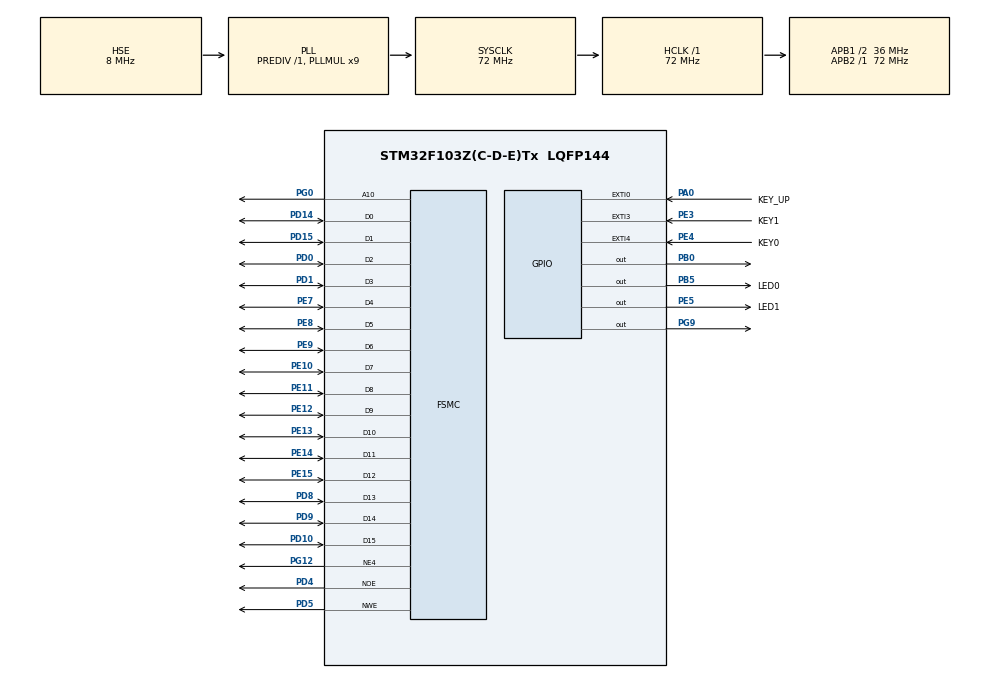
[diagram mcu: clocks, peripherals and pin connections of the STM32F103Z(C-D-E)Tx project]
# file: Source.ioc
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FSMC.AddressSetupTime1=2
FSMC.BusTurnAroundDuration1=0
FSMC.DataSetupTime1=4
Mcu.Family=STM32F1
Mcu.Name=STM32F103Z(C-D-E)Tx
Mcu.Package=LQFP144
NVIC.EXTI0_IRQn=true\:0\:0\:false\:false\:true\:true\:true\:true
NVIC.EXTI3_IRQn=true\:0\:0\:false\:false\:true\:true\:true\:true
NVIC.EXTI4_IRQn=true\:0\:0\:false\:false\:true\:true\:true\:true
NVIC.PriorityGroup=NVIC_PRIORITYGROUP_4
NVIC.TIM1_UP_IRQn=true\:15\:0\:false\:false\:true\:false\:true\:true
NVIC.TimeBase=TIM1_UP_IRQn
NVIC.TimeBaseIP=TIM1
OSC_IN.Mode=HSE-External-Oscillator
OSC_IN.Signal=RCC_OSC_IN
OSC_OUT.Mode=HSE-External-Oscillator
OSC_OUT.Signal=RCC_OSC_OUT
PA0-WKUP.GPIO_Label=KEY_UP
PA0-WKUP.GPIO_ModeDefaultEXTI=GPIO_MODE_IT_RISING
PA0-WKUP.GPIO_PuPd=GPIO_PULLDOWN
PA0-WKUP.Signal=GPXTI0
PA13.Mode=Serial_Wire
PA13.Signal=SYS_JTMS-SWDIO
PA14.Mode=Serial_Wire
PA14.Signal=SYS_JTCK-SWCLK
PB0.Signal=GPIO_Output
PB5.GPIO_Label=LED0
PB5.Signal=GPIO_Output
PD0.Signal=FSMC_D2_DA2
PD1.Signal=FSMC_D3_DA3
PD10.Signal=FSMC_D15_DA15
PD14.Signal=FSMC_D0_DA0
PD15.Signal=FSMC_D1_DA1
PD4.Signal=FSMC_NOE
PD5.Signal=FSMC_NWE
PD8.Signal=FSMC_D13_DA13
PD9.Signal=FSMC_D14_DA14
PE10.Signal=FSMC_D7_DA7
PE11.Signal=FSMC_D8_DA8
PE12.Signal=FSMC_D9_DA9
PE13.Signal=FSMC_D10_DA10
PE14.Signal=FSMC_D11_DA11
PE15.Signal=FSMC_D12_DA12
PE3.GPIO_Label=KEY1
PE3.GPIO_ModeDefaultEXTI=GPIO_MODE_IT_FALLING
PE3.GPIO_PuPd=GPIO_PULLUP
PE3.Signal=GPXTI3
PE4.GPIO_Label=KEY0
PE4.GPIO_ModeDefaultEXTI=GPIO_MODE_IT_FALLING
PE4.GPIO_PuPd=GPIO_PULLUP
PE4.Signal=GPXTI4
PE5.GPIO_Label=LED1
PE5.Signal=GPIO_Output
PE7.Signal=FSMC_D4_DA4
PE8.Signal=FSMC_D5_DA5
PE9.Signal=FSMC_D6_DA6
PG0.Signal=FSMC_A10
PG12.Mode=NorPsramChipSelect4_1
PG12.Signal=FSMC_NE4
PG9.GPIO_PuPd=GPIO_PULLUP
PG9.PinState=GPIO_PIN_SET
PG9.Signal=GPIO_Output
ProjectManager.HeapSize=0x200
ProjectManager.StackSize=0x400
ProjectManager.TargetToolchain=CMake
RCC.AHBFreq_Value=72000000
RCC.APB1CLKDivider=RCC_HCLK_DIV2
RCC.APB1Freq_Value=36000000
RCC.APB1TimFreq_Value=72000000
RCC.APB2Freq_Value=72000000
RCC.APB2TimFreq_Value=72000000
RCC.HCLKFreq_Value=72000000
RCC.PLLMUL=RCC_PLL_MUL9
RCC.PLLSourceVirtual=RCC_PLLSOURCE_HSE
RCC.SYSCLKFreq_VALUE=72000000
RCC.SYSCLKSource=RCC_SYSCLKSOURCE_PLLCLK
RCC.USBFreq_Value=72000000
SH.FSMC_A10.0=FSMC_A10,A10_1
SH.FSMC_D0_DA0.0=FSMC_D0,16b-d1
SH.FSMC_D10_DA10.0=FSMC_D10,16b-d1
SH.FSMC_D11_DA11.0=FSMC_D11,16b-d1
SH.FSMC_D12_DA12.0=FSMC_D12,16b-d1
SH.FSMC_D13_DA13.0=FSMC_D13,16b-d1
SH.FSMC_D14_DA14.0=FSMC_D14,16b-d1
SH.FSMC_D15_DA15.0=FSMC_D15,16b-d1
SH.FSMC_D1_DA1.0=FSMC_D1,16b-d1
SH.FSMC_D2_DA2.0=FSMC_D2,16b-d1
SH.FSMC_D3_DA3.0=FSMC_D3,16b-d1
SH.FSMC_D4_DA4.0=FSMC_D4,16b-d1
SH.FSMC_D5_DA5.0=FSMC_D5,16b-d1
SH.FSMC_D6_DA6.0=FSMC_D6,16b-d1
SH.FSMC_D7_DA7.0=FSMC_D7,16b-d1
SH.FSMC_D8_DA8.0=FSMC_D8,16b-d1
SH.FSMC_D9_DA9.0=FSMC_D9,16b-d1
SH.FSMC_NOE.0=FSMC_NOE,Lcd1
SH.FSMC_NWE.0=FSMC_NWE,Lcd1
VP_SYS_VS_tim1.Mode=TIM1
board=custom

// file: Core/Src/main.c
/* USER CODE BEGIN Header */
/**
  ******************************************************************************
  * @file           : main.c
  * @brief          : Main program body
  ******************************************************************************
  * @attention
  *
  * Copyright (c) 2026 STMicroelectronics.
  * All rights reserved.
  *
  * This software is licensed under terms that can be found in the LICENSE file
  * in the root directory of this software component.
  * If no LICENSE file comes with this software, it is provided AS-IS.
  *
  ******************************************************************************
  */
/* USER CODE END Header */
#include "main.h"

/* USER CODE BEGIN Includes */
#include <stdio.h>

#include "FreeRTOS.h"
#include "task.h"
#include "queue.h"

#include "lcd.h"
#include "dht11.h"
#include "app_shared.h"
#include "bsp_adc.h"
#include "bsp_uart_dma.h"
#include "param_storage.h"
#include "custom_protocol.h"
#include "modbus_rtu.h"
/* USER CODE END Includes */

/* USER CODE BEGIN PD */
/* Task stack depth is counted in words: 256 * 4 = 1 KB.
 * LcdTask calls snprintf, so it eats more stack than the plain GPIO
 * tasks; 256 leaves a comfortable margin. */
#define TASK_STACK_DEPTH        256U

/* Priorities: sampler > uart protocol > display.
 * The sampler runs first so no sample is dropped; the uart task sits above
 * display so command responses stay fast (< 10 ms, doc 9.3). */
#define DHT11_TASK_PRIO         3U
#define UART_TASK_PRIO          4U
#define LCD_TASK_PRIO           2U

/* Sampling period is no longer a fixed macro: it comes from Flash params
 * (Param_GetPeriodMs, default 2000 ms, 500~60000 ms via protocol).
 * DHT11 datasheet asks for >= 1 s between samples. */
#define UART_TASK_STACK_DEPTH   256U

/* USART1 single-port baud. Doc says custom 115200 + Modbus 9600, but the
 * board has only one USART1, so both protocols share 115200 (see bsp_uart_dma.h).
 * The Modbus master must also use 115200. */
#define UART_BAUD               115200U

/* ---------------------------------------------------------------------------
 * UI layout - PORTRAIT 240 x 320
 * ---------------------------------------------------------------------------
 * The font is 16 x 24 px, so a 240 px line holds 15 characters. That is the
 * only real constraint here: every string below has to end before x = 239.
 *
 *   8    DHT11 MONITOR     heading (13 chars)
 *   44   Temperature       caption
 *   72   23.5 C            reading (6 chars, fixed)
 *   108  Humidity          caption
 *   136  45.0 %            reading (6 chars, fixed)
 *   172  Voltage           caption
 *   200  3.30 V            reading (6 chars, fixed)
 *   236  Status: OK        status line (12 chars, fixed)
 *   272  OK:12   E:0       counters, one line, 14 chars fixed
 * ------------------------------------------------------------------------- */
#define UI_X            12U     /* left margin, shared by every line */
#define UI_TITLE_Y      8U
#define UI_TEMP_LBL_Y   44U
#define UI_TEMP_VAL_Y   72U
#define UI_HUMI_LBL_Y   108U
#define UI_HUMI_VAL_Y   136U
#define UI_VOLT_LBL_Y   172U
#define UI_VOLT_VAL_Y   200U
#define UI_STAT_Y       236U
#define UI_CNT_Y        272U

/* USER CODE END PD */

SRAM_HandleTypeDef hsram1;

/* USER CODE BEGIN PV */
/* Data channels, defined here (declared in app_shared.h):
 * q_sensor2display: depth 1 + xQueueOverwrite, always newest sample only.
 * q_sensor2uart: depth 5, upload frames queue up if the uart task is busy.
 * g_latest: newest sample snapshot for the Modbus task (single writer). */
QueueHandle_t        q_sensor2display = NULL;
QueueHandle_t        q_sensor2uart    = NULL;
TaskHandle_t         uartTaskHandle   = NULL;
volatile SensorData_t g_latest = { 0, 0, 0, 0, 0 };

static TaskHandle_t  dht11TaskHandle = NULL;
static TaskHandle_t  lcdTaskHandle   = NULL;
/* USER CODE END PV */

void SystemClock_Config(void);
static void MX_GPIO_Init(void);
static void MX_FSMC_Init(void);
/* USER CODE BEGIN PFP */
static void Dht11Task( void *argument );    /* sampling: DHT11 + ADC */
static void LcdTask( void *argument );      /* display: refresh on new data   */
static void UartTask( void *argument );     /* custom protocol + Modbus slave */
static void UI_DrawStatic( void );          /* draw the fixed labels          */
/* USER CODE END PFP */

/* USER CODE BEGIN 0 */

/**
  * @brief  Draw what is drawn only once: the title bar plus fixed labels
  */
static void UI_DrawStatic( void )
{
    char cnt[ 16 ];

    LCD_Clear( LCD_COLOR_BG );

    LCD_ShowString( UI_X, UI_TITLE_Y,    "DHT11 MONITOR", LCD_COLOR_TEXT );
    LCD_ShowString( UI_X, UI_TEMP_LBL_Y, "Temperature",   LCD_COLOR_LABEL );
    LCD_ShowString( UI_X, UI_HUMI_LBL_Y, "Humidity",      LCD_COLOR_LABEL );
    LCD_ShowString( UI_X, UI_VOLT_LBL_Y, "Voltage",       LCD_COLOR_LABEL );

    /* Placeholders, each exactly as long as a real reading (6 chars), so the
     * first sample overwrites them without leaving anything behind. */
    LCD_ShowString( UI_X, UI_TEMP_VAL_Y, "--.- C", LCD_COLOR_LABEL );
    LCD_ShowString( UI_X, UI_HUMI_VAL_Y, "--.- %", LCD_COLOR_LABEL );
    LCD_ShowString( UI_X, UI_VOLT_VAL_Y, "-.-- V", LCD_COLOR_LABEL );

    /* Exactly 12 characters, like "Status: OK  " and "Status: ERR " below, so
     * all three states overwrite each other cleanly. */
    LCD_ShowString( UI_X, UI_STAT_Y, "Status: WAIT", LCD_COLOR_WARN );

    /* 14 chars fixed, same format string as the live counters below. */
    snprintf( cnt, sizeof( cnt ), "OK:%-4lu E:%-4lu", 0UL, 0UL );
    LCD_ShowString( UI_X, UI_CNT_Y, cnt, LCD_COLOR_LABEL );
}

/**
  * @brief  Sampling task
  * @note   DHT11_Init() calls vTaskDelay() internally, so it must be
  *         called after the scheduler has started (that is, from a task
  *         body); it cannot go in main().
  */
static void Dht11Task( void *argument )
{
    DHT11_Data_t dht;
    SensorData_t data;

    ( void ) argument;

    DHT11_Init();           /* start DWT, pull the bus high, wait 1 s to
                             * get past the power-on unstable period */

    for( ;; )
    {
        /* A failed read is still forwarded, so the screen shows an error state
         * instead of freezing on the last good value */
        if( DHT11_Read( &dht ) == 0U )
        {
            data.temp_x10 = 0;
            data.humi_x10 = 0U;
            data.valid    = 0U;
        }
        else
        {
            data.temp_x10 = ( int16_t )( ( int16_t ) dht.temp_int * 10 +
                                         dht.temp_dec );
            data.humi_x10 = ( uint16_t )( ( uint16_t ) dht.humi_int * 10U +
                                          dht.humi_dec );
            data.valid    = 1U;
        }

        /* ADC 电位器电压, 每次采样都读, 和温湿度打进同一个包 */
        data.volt_mv  = BSP_ADC_ToMillivolt( BSP_ADC_ReadRaw() );
        data.timestamp = xTaskGetTickCount();

        g_latest = data;    /* Modbus 从站直接读这份快照 */

        /* Display queue: depth 1 + Overwrite, never blocks. Uart queue:
         * depth 5, drop (0 timeout) if the uart task is backed up. */
        xQueueOverwrite( q_sensor2display, &data );
        xQueueSend( q_sensor2uart, &data, 0 );

        /* 周期来自 Flash 参数, 上位机/Modbus 可改, 下次循环生效 */
        vTaskDelay( pdMS_TO_TICKS( Param_GetPeriodMs() ) );
    }
}

/**
  * @brief  Display task: block on the queue, refresh whenever data arrives
  */
static void LcdTask( void *argument )
{
    SensorData_t data;
    char buf[ 16 ];         /* longest string is "OK:9999 E:9999" = 14 chars */
    uint32_t okCnt  = 0U;
    uint32_t errCnt = 0U;

    ( void ) argument;

    LCD_Init();             /* FSMC must already have been configured by
                             * MX_FSMC_Init() */
    UI_DrawStatic();

    for( ;; )
    {
        /* Block here while there is no data: costs no CPU */
        if( xQueueReceive( q_sensor2display, &data, portMAX_DELAY ) != pdPASS )
        {
            continue;
        }

        /* Voltage is shown on every refresh, good or bad sample alike. */
        snprintf( buf, sizeof( buf ), "%d.%02d V",
                  data.volt_mv / 1000U, ( data.volt_mv % 1000U ) / 10U );
        LCD_ShowString( UI_X, UI_VOLT_VAL_Y, buf, LCD_COLOR_TEXT );

        if( data.valid != 0U )
        {
            okCnt++;

            /* "%2d.%d C" is always 6 characters (" 9.5 C" as well as "23.5 C"),
             * so it overwrites the previous reading exactly. */
            snprintf( buf, sizeof( buf ), "%2d.%d C",
                      data.temp_x10 / 10, data.temp_x10 % 10 );
            LCD_ShowString( UI_X, UI_TEMP_VAL_Y, buf, LCD_COLOR_TEMP );

            snprintf( buf, sizeof( buf ), "%2d.%d %%",
                      data.humi_x10 / 10U, data.humi_x10 % 10U );
            LCD_ShowString( UI_X, UI_HUMI_VAL_Y, buf, LCD_COLOR_HUMI );

            LCD_ShowString( UI_X, UI_STAT_Y, "Status: OK  ", LCD_COLOR_OK );
        }
        else
        {
            errCnt++;

            /* The same 6 characters as a real reading, so the error text erases
             * the old value instead of leaving a stray digit behind. */
            LCD_ShowString( UI_X, UI_TEMP_VAL_Y, "--.- C", LCD_COLOR_ERR );
            LCD_ShowString( UI_X, UI_HUMI_VAL_Y, "--.- %", LCD_COLOR_ERR );

            LCD_ShowString( UI_X, UI_STAT_Y, "Status: ERR ", LCD_COLOR_ERR );
        }

        /* Fixed 14 chars ("OK:12   E:0   "): "%-4lu" is a MINIMUM width, so a
         * longer count would push past the right edge where the address
         * counter wraps it back left as garbage. Clamp at 9999. */
        snprintf( buf, sizeof( buf ), "OK:%-4lu E:%-4lu",
                  ( okCnt  > 9999UL ) ? 9999UL : okCnt,
                  ( errCnt > 9999UL ) ? 9999UL : errCnt );
        LCD_ShowString( UI_X, UI_CNT_Y, buf, LCD_COLOR_LABEL );
    }
}

/**
  * @brief  Uart task: one USART1 serves two protocols (doc 4.3 + 6.x).
  * @note   TX: each sensor sample goes out as a custom 0x01 upload frame.
  *         RX: bytes starting with 0xAA go to the custom-protocol state
  *         machine, everything else is collected with a 10 ms silence gap
  *         and treated as a Modbus RTU frame.
  */
#define UART_STAGE_SIZE   96U

static void UartTask( void *argument )
{
    CProto_Parser_t cproto;
    static uint8_t  stage[ UART_STAGE_SIZE ];   /* static: keep task stack small */
    static uint16_t stageLen = 0U;
    uint8_t  rx[ 64 ];
    uint8_t  tx[ 96 ];
    SensorData_t s;

    ( void ) argument;

    CProto_ParserInit( &cproto );

    for( ;; )
    {
        /* Sleep until the IDLE ISR knocks, or 20 ms timeout to drain uploads */
        ulTaskNotifyTake( pdTRUE, pdMS_TO_TICKS( 20 ) );

        /* 1) 上报: 每个采样一帧 0x01, 发完再看有没有堆积的 */
        while( xQueueReceive( q_sensor2uart, &s, 0 ) == pdPASS )
        {
            uint16_t n = CProto_BuildUpload( &s, tx, sizeof( tx ) );

            if( n > 0U )
            {
                BSP_UART_Send( tx, n );
            }
        }

        /* 2) 收字节并分流: 自定义帧逐字节喂状态机, 其余攒进 stage */
        uint16_t n = BSP_UART_ReadBytes( rx, sizeof( rx ) );

        for( uint16_t i = 0U; i < n; i++ )
        {
            uint8_t b = rx[ i ];

            if( CProto_InFrame( &cproto ) )
            {
                uint16_t rl = 0U;

                if( CProto_ParseByte( &cproto, b, tx, &rl ) && rl > 0U )
                {
                    BSP_UART_Send( tx, rl );    /* 只 0x03 查询有应答 */
                }
            }
            else if( stageLen == 0U && b == CPROTO_HEAD )
            {
                uint16_t rl = 0U;

                /* 帧头另起一帧, 不进 Modbus 暂存 */
                if( CProto_ParseByte( &cproto, b, tx, &rl ) && rl > 0U )
                {
                    BSP_UART_Send( tx, rl );
                }
            }
            else if( stageLen < UART_STAGE_SIZE )
            {
                stage[ stageLen++ ] = b;
            }
            else
            {
                stageLen = 0U;  /* 溢出: 之前攒的肯定不是合法帧, 扔掉重来 */
            }
        }

        /* 3) Modbus: 10 ms 静默 = 一帧收齐, 当帧处理 (TIM4 超时用空闲代替) */
        if( stageLen >= 4U )
        {
            vTaskDelay( pdMS_TO_TICKS( 10 ) );

            uint16_t m = BSP_UART_ReadBytes( rx, sizeof( rx ) );
            uint16_t added = 0U;

            for( uint16_t i = 0U; i < m; i++ )
            {
                uint8_t b = rx[ i ];

                if( CProto_InFrame( &cproto ) ||
                    ( stageLen == 0U && b == CPROTO_HEAD ) )
                {
                    uint16_t rl = 0U;

                    if( CProto_ParseByte( &cproto, b, tx, &rl ) && rl > 0U )
                    {
                        BSP_UART_Send( tx, rl );
                    }
                }
                else if( stageLen < UART_STAGE_SIZE )
                {
                    stage[ stageLen++ ] = b;
                    added++;
                }
                else
                {
                    stageLen = 0U;
                    added    = 1U;
                    break;
                }
            }

            if( added == 0U )
            {
                uint16_t rl = Modbus_Process( stage, stageLen, tx, sizeof( tx ) );

                if( rl > 0U )
                {
                    BSP_UART_Send( tx, rl );    /* 广播/地址不符返回 0, 不发 */
                }

                stageLen = 0U;
            }
            /* 还有新字节进来: 说明帧没收完, 下一轮循环继续等静默 */
        }
    }
}

/* USER CODE END 0 */

int main(void)
{

  /* USER CODE BEGIN 1 */
  /* Queues must exist before the tasks start. Display queue depth 1
   * (newest-only), uart upload queue depth 5 (doc 4.4). */
  q_sensor2display = xQueueCreate( 1, sizeof( SensorData_t ) );
  q_sensor2uart    = xQueueCreate( 5, sizeof( SensorData_t ) );
  /* USER CODE END 1 */

  /* MCU Configuration--------------------------------------------------------*/

  /* Reset of all peripherals, Initializes the Flash interface and the Systick. */
  HAL_Init();

  /* Configure the system clock */
  SystemClock_Config();

  /* Initialize all configured peripherals */
  MX_GPIO_Init();
  MX_FSMC_Init();
  /* USER CODE BEGIN 2 */
  /* Note: after enabling FSMC in CubeMX and regenerating the project,
   * CubeMX inserts the declaration and the call of MX_FSMC_Init() right
   * after MX_GPIO_Init() on its own - no need to write it by hand.
   * Calling LCD_Init() before the FSMC is up has no effect.
   *
   * ADC1 (PA1) and USART1 (PA9/PA10 + DMA1 Ch5) are NOT in Source.ioc -
   * their init lives in BSP (bsp_adc.c / bsp_uart_dma.c) so a CubeMX
   * regenerate cannot wipe them. If you add them in CubeMX later, remove
   * the hand init here to avoid double configuration. */

  Param_Load();                 /* Flash 参数 -> 内存, 坏块则默认值 */
  BSP_ADC_Init();               /* 电位器 ADC, 无 RTOS 调用, 调度器前可调 */
  BSP_UART_Init( UART_BAUD );   /* DMA 接收 + 空闲中断, 中断里已判调度器状态 */

  if( q_sensor2display != NULL && q_sensor2uart != NULL )
  {
      xTaskCreate( Dht11Task, "dht11", TASK_STACK_DEPTH, NULL, DHT11_TASK_PRIO, &dht11TaskHandle );
      xTaskCreate( LcdTask,   "lcd",   TASK_STACK_DEPTH, NULL, LCD_TASK_PRIO,   &lcdTaskHandle );
      xTaskCreate( UartTask,  "uart",  UART_TASK_STACK_DEPTH, NULL, UART_TASK_PRIO, &uartTaskHandle );

      vTaskStartScheduler();   /* start the scheduler; normally it never
                               * returns */
  }

  /* Reaching this point means the heap was too small or the scheduler
   * failed to start */
  Error_Handler();
  /* USER CODE END 2 */

  /* Infinite loop */
  while (1)
  {

  }
}

void SystemClock_Config(void)
{
  RCC_OscInitTypeDef RCC_OscInitStruct = {0};
  RCC_ClkInitTypeDef RCC_ClkInitStruct = {0};

  /** Initializes the RCC Oscillators according to the specified parameters
  * in the RCC_OscInitTypeDef structure.
  */
  RCC_OscInitStruct.OscillatorType = RCC_OSCILLATORTYPE_HSE;
  RCC_OscInitStruct.HSEState = RCC_HSE_ON;
  RCC_OscInitStruct.HSEPredivValue = RCC_HSE_PREDIV_DIV1;
  RCC_OscInitStruct.HSIState = RCC_HSI_ON;
  RCC_OscInitStruct.PLL.PLLState = RCC_PLL_ON;
  RCC_OscInitStruct.PLL.PLLSource = RCC_PLLSOURCE_HSE;
  RCC_OscInitStruct.PLL.PLLMUL = RCC_PLL_MUL9;
  if (HAL_RCC_OscConfig(&RCC_OscInitStruct) != HAL_OK)
  {
    Error_Handler();
  }

  /** Initializes the CPU, AHB and APB buses clocks
  */
  RCC_ClkInitStruct.ClockType = RCC_CLOCKTYPE_HCLK|RCC_CLOCKTYPE_SYSCLK
                              |RCC_CLOCKTYPE_PCLK1|RCC_CLOCKTYPE_PCLK2;
  RCC_ClkInitStruct.SYSCLKSource = RCC_SYSCLKSOURCE_PLLCLK;
  RCC_ClkInitStruct.AHBCLKDivider = RCC_SYSCLK_DIV1;
  RCC_ClkInitStruct.APB1CLKDivider = RCC_HCLK_DIV2;
  RCC_ClkInitStruct.APB2CLKDivider = RCC_HCLK_DIV1;

  if (HAL_RCC_ClockConfig(&RCC_ClkInitStruct, FLASH_LATENCY_2) != HAL_OK)
  {
    Error_Handler();
  }
}

static void MX_GPIO_Init(void)
{
  GPIO_InitTypeDef GPIO_InitStruct = {0};

  /* GPIO Ports Clock Enable */
  __HAL_RCC_GPIOE_CLK_ENABLE();
  __HAL_RCC_GPIOA_CLK_ENABLE();
  __HAL_RCC_GPIOB_CLK_ENABLE();
  __HAL_RCC_GPIOG_CLK_ENABLE();
  __HAL_RCC_GPIOD_CLK_ENABLE();

  /*Configure GPIO pin Output Level */
  HAL_GPIO_WritePin(LED1_GPIO_Port, LED1_Pin, GPIO_PIN_RESET);

  /*Configure GPIO pin Output Level */
  HAL_GPIO_WritePin(GPIOB, GPIO_PIN_0|LED0_Pin, GPIO_PIN_RESET);

  /*Configure GPIO pin Output Level */
  HAL_GPIO_WritePin(GPIOG, GPIO_PIN_9, GPIO_PIN_SET);

  /*Configure GPIO pins : KEY1_Pin KEY0_Pin */
  GPIO_InitStruct.Pin = KEY1_Pin|KEY0_Pin;
  GPIO_InitStruct.Mode = GPIO_MODE_IT_FALLING;
  GPIO_InitStruct.Pull = GPIO_PULLUP;
  HAL_GPIO_Init(GPIOE, &GPIO_InitStruct);

  /*Configure GPIO pin : LED1_Pin */
  GPIO_InitStruct.Pin = LED1_Pin;
  GPIO_InitStruct.Mode = GPIO_MODE_OUTPUT_PP;
  GPIO_InitStruct.Pull = GPIO_NOPULL;
  GPIO_InitStruct.Speed = GPIO_SPEED_FREQ_LOW;
  HAL_GPIO_Init(LED1_GPIO_Port, &GPIO_InitStruct);

  /*Configure GPIO pin : KEY_UP_Pin */
  GPIO_InitStruct.Pin = KEY_UP_Pin;
  GPIO_InitStruct.Mode = GPIO_MODE_IT_RISING;
  GPIO_InitStruct.Pull = GPIO_PULLDOWN;
  HAL_GPIO_Init(KEY_UP_GPIO_Port, &GPIO_InitStruct);

  /*Configure GPIO pins : PB0 LED0_Pin */
  GPIO_InitStruct.Pin = GPIO_PIN_0|LED0_Pin;
  GPIO_InitStruct.Mode = GPIO_MODE_OUTPUT_PP;
  GPIO_InitStruct.Pull = GPIO_NOPULL;
  GPIO_InitStruct.Speed = GPIO_SPEED_FREQ_LOW;
  HAL_GPIO_Init(GPIOB, &GPIO_InitStruct);

  /*Configure GPIO pin : PG9 */
  GPIO_InitStruct.Pin = GPIO_PIN_9;
  GPIO_InitStruct.Mode = GPIO_MODE_OUTPUT_PP;
  GPIO_InitStruct.Pull = GPIO_PULLUP;
  GPIO_InitStruct.Speed = GPIO_SPEED_FREQ_LOW;
  HAL_GPIO_Init(GPIOG, &GPIO_InitStruct);

  /* EXTI interrupt init*/
  HAL_NVIC_SetPriority(EXTI0_IRQn, 0, 0);
  HAL_NVIC_EnableIRQ(EXTI0_IRQn);

  HAL_NVIC_SetPriority(EXTI3_IRQn, 0, 0);
  HAL_NVIC_EnableIRQ(EXTI3_IRQn);

  HAL_NVIC_SetPriority(EXTI4_IRQn, 0, 0);
  HAL_NVIC_EnableIRQ(EXTI4_IRQn);

/* USER CODE BEGIN MX_GPIO_Init_2 */
  /* These key interrupts have no callback handler at the moment, but the
   * priority is still changed: 0 means "highest priority, not managed by
   * FreeRTOS", and calling any xxxFromISR API from there later would trip
   * configASSERT and hang. Changing it keeps things safe if you wire the
   * callbacks back up later. */
  HAL_NVIC_SetPriority(EXTI0_IRQn, 6, 0);
  HAL_NVIC_SetPriority(EXTI3_IRQn, 6, 0);
  HAL_NVIC_SetPriority(EXTI4_IRQn, 6, 0);
/* USER CODE END MX_GPIO_Init_2 */
}

/* FSMC initialization function */
static void MX_FSMC_Init(void)
{

  FSMC_NORSRAM_TimingTypeDef Timing = {0};

  /** Perform the SRAM1 memory initialization sequence
  */
  hsram1.Instance = FSMC_NORSRAM_DEVICE;
  hsram1.Extended = FSMC_NORSRAM_EXTENDED_DEVICE;
  /* hsram1.Init */
  hsram1.Init.NSBank = FSMC_NORSRAM_BANK4;
  hsram1.Init.DataAddressMux = FSMC_DATA_ADDRESS_MUX_DISABLE;
  hsram1.Init.MemoryType = FSMC_MEMORY_TYPE_SRAM;
  hsram1.Init.MemoryDataWidth = FSMC_NORSRAM_MEM_BUS_WIDTH_16;
  hsram1.Init.BurstAccessMode = FSMC_BURST_ACCESS_MODE_DISABLE;
  hsram1.Init.WaitSignalPolarity = FSMC_WAIT_SIGNAL_POLARITY_LOW;
  hsram1.Init.WrapMode = FSMC_WRAP_MODE_DISABLE;
  hsram1.Init.WaitSignalActive = FSMC_WAIT_TIMING_BEFORE_WS;
  hsram1.Init.WriteOperation = FSMC_WRITE_OPERATION_ENABLE;
  hsram1.Init.WaitSignal = FSMC_WAIT_SIGNAL_DISABLE;
  hsram1.Init.ExtendedMode = FSMC_EXTENDED_MODE_DISABLE;
  hsram1.Init.AsynchronousWait = FSMC_ASYNCHRONOUS_WAIT_DISABLE;
  hsram1.Init.WriteBurst = FSMC_WRITE_BURST_DISABLE;
  /* Timing */
  Timing.AddressSetupTime = 2;
  Timing.AddressHoldTime = 15;
  Timing.DataSetupTime = 4;
  Timing.BusTurnAroundDuration = 0;
  Timing.CLKDivision = 16;
  Timing.DataLatency = 17;
  Timing.AccessMode = FSMC_ACCESS_MODE_A;
  /* ExtTiming */

  if (HAL_SRAM_Init(&hsram1, &Timing, NULL) != HAL_OK)
  {
    Error_Handler( );
  }

  /** Disconnect NADV
  */

  __HAL_AFIO_FSMCNADV_DISCONNECTED();

}

void HAL_TIM_PeriodElapsedCallback(TIM_HandleTypeDef *htim)
{
  if (htim->Instance == TIM1) {
    HAL_IncTick();
  }
}

void Error_Handler(void)
{
  __disable_irq();
  while (1)
  {
  }
}
